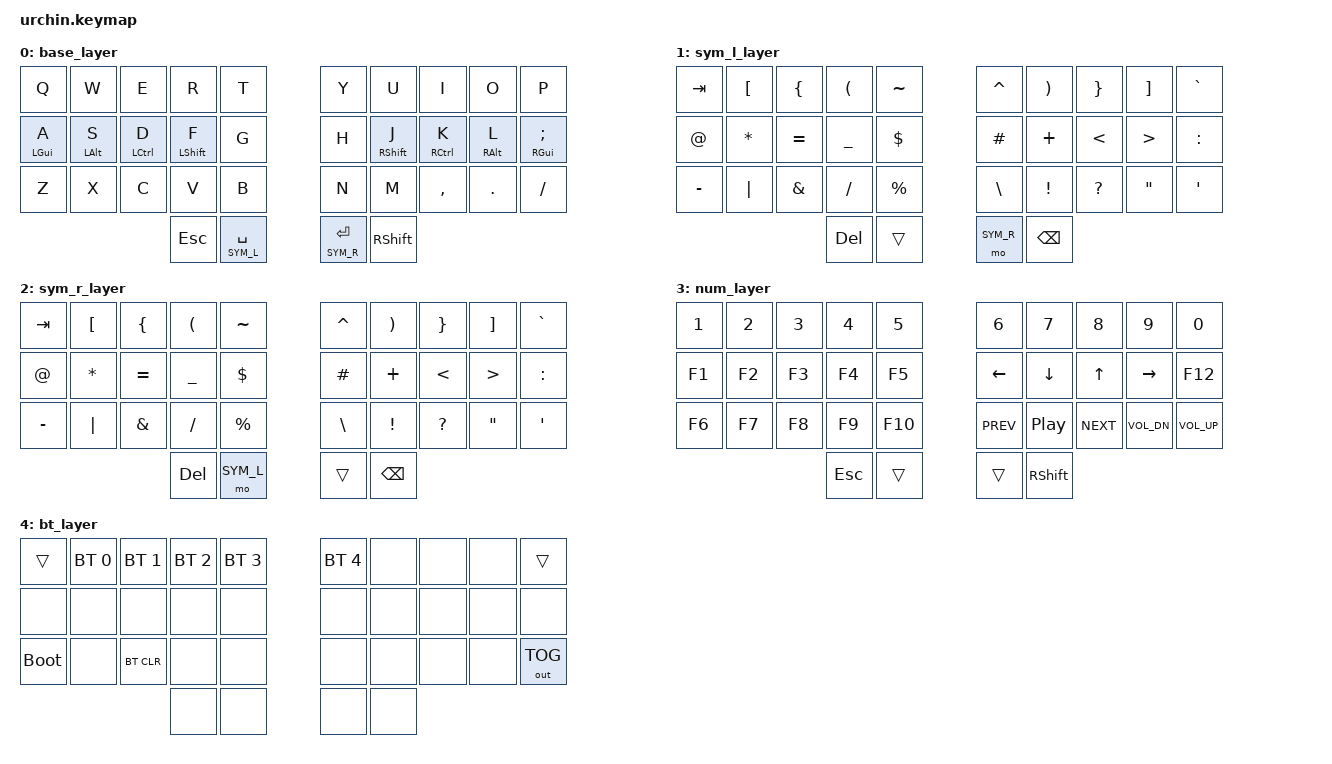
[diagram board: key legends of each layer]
/*
 * Urchin ZMK Keymap
 * 
 * Optimized for: Doom Emacs, Kotlin, Python, Clojure, Go, Elixir
 * Base: QWERTY with home row mods (GACS)
 * 
 * Layers:
 *   0 - Base (QWERTY)
 *   1 - Sym (symbols, brackets, punctuation)
 *   2 - Num (numbers, F-keys, arrows, media)
 *   3 - BT (Bluetooth management) - Q+P combo
 */

#include <behaviors.dtsi>
#include <dt-bindings/zmk/keys.h>
#include <dt-bindings/zmk/bt.h>
#include <dt-bindings/zmk/outputs.h>

// Layer definitions
#define BASE 0
#define SYM_L 1
#define SYM_R 2
#define NUM  3
#define BT   4

/ {
    behaviors {
        // Home row mods with balanced flavor
        hm: homerow_mods {
            compatible = "zmk,behavior-hold-tap";
            #binding-cells = <2>;
            tapping-term-ms = <200>;
            quick-tap-ms = <175>;
            require-prior-idle-ms = <150>;
            flavor = "balanced";
            bindings = <&kp>, <&kp>;
        };
    };

    // Combos
    combos {
        compatible = "zmk,combos";
        
        // Caps word: F + J (home row)
        combo_caps_word {
            timeout-ms = <50>;
            key-positions = <13 16>;
            bindings = <&caps_word>;
        };

        // BT Layer: Q + P (top corners)
        combo_bt_layer {
            timeout-ms = <50>;
            key-positions = <0 9>;
            bindings = <&mo BT>;
        };
    };

    // Tri-layer: holding both thumb layer keys activates NUM
    conditional_layers {
        compatible = "zmk,conditional-layers";
        tri_layer {
            if-layers = <SYM_L SYM_R>;
            then-layer = <NUM>;
        };
    };

    keymap {
        compatible = "zmk,keymap";

        // BASE LAYER
        // ╭─────┬─────┬─────┬─────┬─────╮   ╭─────┬─────┬─────┬─────┬─────╮
        // │  Q  │  W  │  E  │  R  │  T  │   │  Y  │  U  │  I  │  O  │  P  │
        // ├─────┼─────┼─────┼─────┼─────┤   ├─────┼─────┼─────┼─────┼─────┤
        // │  A  │  S  │  D  │  F  │  G  │   │  H  │  J  │  K  │  L  │  ;  │
        // │ GUI │ ALT │CTRL │SHFT │     │   │     │SHFT │CTRL │ ALT │ GUI │
        // ├─────┼─────┼─────┼─────┼─────┤   ├─────┼─────┼─────┼─────┼─────┤
        // │  Z  │  X  │  C  │  V  │  B  │   │  N  │  M  │  ,  │  .  │  /  │
        // ╰─────┴─────┼─────┼─────┼─────╯   ╰─────┼─────┼─────┼─────┴─────╯
        //             │ ESC │SPACE│               │ENTER│SHIFT│
        //             │     │ SYM │               │ SYM │     │
        //             ╰─────┴─────╯               ╰─────┴─────╯

        base_layer {
            bindings = <
                &kp Q       &kp W       &kp E        &kp R        &kp T          &kp Y        &kp U        &kp I        &kp O       &kp P
                &hm LGUI A  &hm LALT S  &hm LCTRL D  &hm LSHFT F  &kp G          &kp H        &hm RSHFT J  &hm RCTRL K  &hm RALT L  &hm RGUI SEMI
                &kp Z       &kp X       &kp C        &kp V        &kp B          &kp N        &kp M        &kp COMMA    &kp DOT     &kp FSLH
                                        &kp ESC      &lt SYM_L SPACE                &lt SYM_R RET  &kp RSHFT
            >;
        };

        // SYM_L LAYER (left thumb - hold Space)
        // ╭─────┬─────┬─────┬─────┬─────╮   ╭─────┬─────┬─────┬─────┬─────╮
        // │ TAB │  [  │  {  │  (  │  ~  │   │  ^  │  )  │  }  │  ]  │  `  │
        // ├─────┼─────┼─────┼─────┼─────┤   ├─────┼─────┼─────┼─────┼─────┤
        // │  @  │  *  │  =  │  _  │  $  │   │  #  │  +  │  <  │  >  │  :  │
        // ├─────┼─────┼─────┼─────┼─────┤   ├─────┼─────┼─────┼─────┼─────┤
        // │  -  │  |  │  &  │  /  │  %  │   │  \  │  !  │  ?  │  "  │  '  │
        // ╰─────┴─────┼─────┼─────┼─────╯   ╰─────┼─────┼─────┼─────┴─────╯
        //             │ DEL │     │               │     │BKSP │
        //             ╰─────┴─────╯               ╰─────┴─────╯

        sym_l_layer {
            bindings = <
                &kp TAB    &kp LBKT   &kp LBRC   &kp LPAR   &kp TILDE      &kp CARET  &kp RPAR   &kp RBRC   &kp RBKT   &kp GRAVE
                &kp AT     &kp ASTRK  &kp EQUAL  &kp UNDER  &kp DLLR       &kp HASH   &kp PLUS   &kp LT     &kp GT     &kp COLON
                &kp MINUS  &kp PIPE   &kp AMPS   &kp FSLH   &kp PRCNT      &kp BSLH   &kp EXCL   &kp QMARK  &kp DQT    &kp SQT
                                      &kp DEL    &trans                    &mo SYM_R  &kp BSPC
            >;
        };

        // SYM_R LAYER (right thumb - hold Enter)
        // Same as SYM_L

        sym_r_layer {
            bindings = <
                &kp TAB    &kp LBKT   &kp LBRC   &kp LPAR   &kp TILDE      &kp CARET  &kp RPAR   &kp RBRC   &kp RBKT   &kp GRAVE
                &kp AT     &kp ASTRK  &kp EQUAL  &kp UNDER  &kp DLLR       &kp HASH   &kp PLUS   &kp LT     &kp GT     &kp COLON
                &kp MINUS  &kp PIPE   &kp AMPS   &kp FSLH   &kp PRCNT      &kp BSLH   &kp EXCL   &kp QMARK  &kp DQT    &kp SQT
                                      &kp DEL    &mo SYM_L                 &trans     &kp BSPC
            >;
        };

        // NUM LAYER (activated by holding both SYM keys)
        // ╭─────┬─────┬─────┬─────┬─────╮   ╭─────┬─────┬─────┬─────┬─────╮
        // │  1  │  2  │  3  │  4  │  5  │   │  6  │  7  │  8  │  9  │  0  │
        // ├─────┼─────┼─────┼─────┼─────┤   ├─────┼─────┼─────┼─────┼─────┤
        // │ F1  │ F2  │ F3  │ F4  │ F5  │   │LEFT │DOWN │ UP  │RIGHT│ F12 │
        // ├─────┼─────┼─────┼─────┼─────┤   ├─────┼─────┼─────┼─────┼─────┤
        // │ F6  │ F7  │ F8  │ F9  │ F10 │   │PREV │PLAY │NEXT │VOL- │VOL+ │
        // ╰─────┴─────┼─────┼─────┼─────╯   ╰─────┼─────┼─────┼─────┴─────╯
        //             │ ESC │     │               │     │SHIFT│
        //             ╰─────┴─────╯               ╰─────┴─────╯

        num_layer {
            bindings = <
                &kp N1       &kp N2       &kp N3       &kp N4       &kp N5           &kp N6      &kp N7      &kp N8     &kp N9       &kp N0
                &kp F1       &kp F2       &kp F3       &kp F4       &kp F5           &kp LEFT    &kp DOWN    &kp UP     &kp RIGHT    &kp F12
                &kp F6       &kp F7       &kp F8       &kp F9       &kp F10          &kp C_PREV  &kp C_PP    &kp C_NEXT &kp C_VOL_DN &kp C_VOL_UP
                                          &kp ESC      &trans                        &trans      &kp RSHFT
            >;
        };

        // BT LAYER (activated by Q + P combo)
        // ╭─────┬─────┬─────┬─────┬─────╮   ╭─────┬─────┬─────┬─────┬─────╮
        // │ [Q] │ BT1 │ BT2 │ BT3 │ BT4 │   │ BT5 │     │     │     │ [P] │
        // ├─────┼─────┼─────┼─────┼─────┤   ├─────┼─────┼─────┼─────┼─────┤
        // │     │     │     │     │     │   │     │     │     │     │     │
        // ├─────┼─────┼─────┼─────┼─────┤   ├─────┼─────┼─────┼─────┼─────┤
        // │BOOTL│     │BTCLR│     │     │   │     │     │     │     │OUTTG│
        // ╰─────┴─────┼─────┼─────┼─────╯   ╰─────┼─────┼─────┼─────┴─────╯
        //             │     │     │               │     │     │
        //             ╰─────┴─────╯               ╰─────┴─────╯

        bt_layer {
            bindings = <
                &trans       &bt BT_SEL 0 &bt BT_SEL 1 &bt BT_SEL 2 &bt BT_SEL 3   &bt BT_SEL 4 &none       &none        &none        &trans
                &none        &none        &none        &none        &none          &none        &none       &none        &none        &none
                &bootloader  &none        &bt BT_CLR   &none        &none          &none        &none       &none        &none        &out OUT_TOG
                                          &none        &none                       &none        &none
            >;
        };
    };
};
